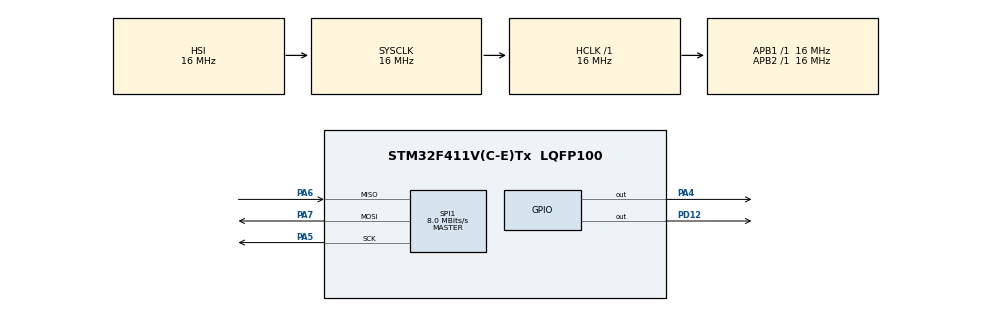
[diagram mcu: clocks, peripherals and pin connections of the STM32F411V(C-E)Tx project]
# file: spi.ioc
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Mcu.Family=STM32F4
Mcu.Name=STM32F411V(C-E)Tx
Mcu.Package=LQFP100
NVIC.PriorityGroup=NVIC_PRIORITYGROUP_4
PA4.Signal=GPIO_Output
PA5.Mode=Full_Duplex_Master
PA5.Signal=SPI1_SCK
PA6.Mode=Full_Duplex_Master
PA6.Signal=SPI1_MISO
PA7.Mode=Full_Duplex_Master
PA7.Signal=SPI1_MOSI
PD12.Signal=GPIO_Output
PH0\ -\ OSC_IN.Mode=HSE-External-Oscillator
PH0\ -\ OSC_IN.Signal=RCC_OSC_IN
PH1\ -\ OSC_OUT.Mode=HSE-External-Oscillator
PH1\ -\ OSC_OUT.Signal=RCC_OSC_OUT
ProjectManager.HeapSize=0x200
ProjectManager.StackSize=0x400
ProjectManager.TargetToolchain=MDK-ARM V5
RCC.AHBFreq_Value=16000000
RCC.APB1Freq_Value=16000000
RCC.APB2Freq_Value=16000000
RCC.CortexFreq_Value=16000000
RCC.HSE_VALUE=25000000
RCC.HSI_VALUE=16000000
RCC.LSE_VALUE=32768
RCC.SYSCLKFreq_VALUE=16000000
RCC.VCOOutputFreq_Value=192000000
SPI1.CalculateBaudRate=8.0 MBits/s
SPI1.Direction=SPI_DIRECTION_2LINES
SPI1.Mode=SPI_MODE_MASTER
SPI1.VirtualType=VM_MASTER
board=spi

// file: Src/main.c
/**
  ******************************************************************************
  * @file           : main.c
  * @brief          : Main program body
  ******************************************************************************
  ** This notice applies to any and all portions of this file
  * that are not between comment pairs USER CODE BEGIN and
  * USER CODE END. Other portions of this file, whether
  * inserted by the user or by software development tools
  * are owned by their respective copyright owners.
  *
  * COPYRIGHT(c) 2018 STMicroelectronics
  *
  * Redistribution and use in source and binary forms, with or without modification,
  * are permitted provided that the following conditions are met:
  *   1. Redistributions of source code must retain the above copyright notice,
  *      this list of conditions and the following disclaimer.
  *   2. Redistributions in binary form must reproduce the above copyright notice,
  *      this list of conditions and the following disclaimer in the documentation
  *      and/or other materials provided with the distribution.
  *   3. Neither the name of STMicroelectronics nor the names of its contributors
  *      may be used to endorse or promote products derived from this software
  *      without specific prior written permission.
  *
  * THIS SOFTWARE IS PROVIDED BY THE COPYRIGHT HOLDERS AND CONTRIBUTORS "AS IS"
  * AND ANY EXPRESS OR IMPLIED WARRANTIES, INCLUDING, BUT NOT LIMITED TO, THE
  * IMPLIED WARRANTIES OF MERCHANTABILITY AND FITNESS FOR A PARTICULAR PURPOSE ARE
  * DISCLAIMED. IN NO EVENT SHALL THE COPYRIGHT HOLDER OR CONTRIBUTORS BE LIABLE
  * FOR ANY DIRECT, INDIRECT, INCIDENTAL, SPECIAL, EXEMPLARY, OR CONSEQUENTIAL
  * DAMAGES (INCLUDING, BUT NOT LIMITED TO, PROCUREMENT OF SUBSTITUTE GOODS OR
  * SERVICES; LOSS OF USE, DATA, OR PROFITS; OR BUSINESS INTERRUPTION) HOWEVER
  * CAUSED AND ON ANY THEORY OF LIABILITY, WHETHER IN CONTRACT, STRICT LIABILITY,
  * OR TORT (INCLUDING NEGLIGENCE OR OTHERWISE) ARISING IN ANY WAY OUT OF THE USE
  * OF THIS SOFTWARE, EVEN IF ADVISED OF THE POSSIBILITY OF SUCH DAMAGE.
  *
  ******************************************************************************
  */
#include "main.h"
#include "stm32f4xx_hal.h"

/* USER CODE BEGIN Includes */
#include "rc522.h"

/* USER CODE END Includes */

SPI_HandleTypeDef hspi1;

/* USER CODE BEGIN PV */
/* Private variables ---------------------------------------------------------*/

/* USER CODE END PV */

void SystemClock_Config(void);
static void MX_GPIO_Init(void);
static void MX_SPI1_Init(void);

/* USER CODE BEGIN PFP */
/* Private function prototypes -----------------------------------------------*/

/* USER CODE END PFP */

/* USER CODE BEGIN 0 */
uint8_t dataUDP_permit[]="Ma the hop le ";
uint8_t dataUDP_deny[]="Ma the khong hop le ";
unsigned char CardID[5];
unsigned char MyID[5] = {0xD4, 0x8E, 0x70, 0x1F, 0x35};	//My card on my keys

uint8_t MFRC522_Check(uint8_t* id);
uint8_t MFRC522_Compare(uint8_t* CardID, uint8_t* CompareID);
void MFRC522_WriteRegister(uint8_t addr, uint8_t val);
uint8_t MFRC522_ReadRegister(uint8_t addr);
void MFRC522_SetBitMask(uint8_t reg, uint8_t mask);
void MFRC522_ClearBitMask(uint8_t reg, uint8_t mask);
uint8_t MFRC522_Request(uint8_t reqMode, uint8_t* TagType);
uint8_t MFRC522_ToCard(uint8_t command, uint8_t* sendData, uint8_t sendLen, uint8_t* backData, uint16_t* backLen);
uint8_t MFRC522_Anticoll(uint8_t* serNum);
void MFRC522_CalulateCRC(uint8_t* pIndata, uint8_t len, uint8_t* pOutData);
uint8_t MFRC522_SelectTag(uint8_t* serNum);
uint8_t MFRC522_Auth(uint8_t authMode, uint8_t BlockAddr, uint8_t* Sectorkey, uint8_t* serNum);
uint8_t MFRC522_Read(uint8_t blockAddr, uint8_t* recvData);
uint8_t MFRC522_Write(uint8_t blockAddr, uint8_t* writeData);
void MFRC522_Init(void);
void MFRC522_Reset(void);
void MFRC522_AntennaOn(void);
void MFRC522_AntennaOff(void);
void MFRC522_Halt(void);

/* USER CODE END 0 */

int main(void)
{

  /* MCU Configuration----------------------------------------------------------*/

  /* Reset of all peripherals, Initializes the Flash interface and the Systick. */
  HAL_Init();

  /* Configure the system clock */
  SystemClock_Config();

  /* Initialize all configured peripherals */
  MX_GPIO_Init();
  MX_SPI1_Init();
  /* USER CODE BEGIN 2 */
	MFRC522_Init();
  /* USER CODE END 2 */

  /* Infinite loop */
  /* USER CODE BEGIN WHILE */
  while (1)
  {

		if (MFRC522_Check(CardID) == MI_OK)
			{
				//printf( "[%02x-%02x-%02x-%02x-%02x] \r\n", CardID[0], CardID[1], CardID[2], CardID[3], CardID[4]);

				HAL_GPIO_WritePin(GPIOD,GPIO_PIN_12,GPIO_PIN_SET);

			if (MFRC522_Compare(CardID, MyID) == MI_OK)
				{
					//printf("(^_^) Perfect!\n\r");
					//printf("[%s voi Card ID=%02x-%02x-%02x-%02x-%02x] \r\n", dataUDP_permit, CardID[0], CardID[1], CardID[2], CardID[3], CardID[4]);

					HAL_GPIO_WritePin(GPIOD,GPIO_PIN_12,GPIO_PIN_SET);
				}
				else
				{
					//printf("(0_0) Bad!\n\r");
					//printf( "[%s voi Card ID=%02x-%02x-%02x-%02x-%02x]\r\n", dataUDP_deny, CardID[0], CardID[1], CardID[2], CardID[3], CardID[4]);

				HAL_GPIO_WritePin(GPIOD,GPIO_PIN_12,GPIO_PIN_RESET);

				}
				}

		  HAL_Delay(10);

  /* USER CODE END WHILE */

  }

}

void SystemClock_Config(void)
{

  RCC_OscInitTypeDef RCC_OscInitStruct;
  RCC_ClkInitTypeDef RCC_ClkInitStruct;

    /**Configure the main internal regulator output voltage
    */
  __HAL_RCC_PWR_CLK_ENABLE();

  __HAL_PWR_VOLTAGESCALING_CONFIG(PWR_REGULATOR_VOLTAGE_SCALE1);

    /**Initializes the CPU, AHB and APB busses clocks
    */
  RCC_OscInitStruct.OscillatorType = RCC_OSCILLATORTYPE_HSI;
  RCC_OscInitStruct.HSIState = RCC_HSI_ON;
  RCC_OscInitStruct.HSICalibrationValue = 16;
  RCC_OscInitStruct.PLL.PLLState = RCC_PLL_NONE;
  if (HAL_RCC_OscConfig(&RCC_OscInitStruct) != HAL_OK)
  {
    _Error_Handler(__FILE__, __LINE__);
  }

    /**Initializes the CPU, AHB and APB busses clocks
    */
  RCC_ClkInitStruct.ClockType = RCC_CLOCKTYPE_HCLK|RCC_CLOCKTYPE_SYSCLK
                              |RCC_CLOCKTYPE_PCLK1|RCC_CLOCKTYPE_PCLK2;
  RCC_ClkInitStruct.SYSCLKSource = RCC_SYSCLKSOURCE_HSI;
  RCC_ClkInitStruct.AHBCLKDivider = RCC_SYSCLK_DIV1;
  RCC_ClkInitStruct.APB1CLKDivider = RCC_HCLK_DIV1;
  RCC_ClkInitStruct.APB2CLKDivider = RCC_HCLK_DIV1;

  if (HAL_RCC_ClockConfig(&RCC_ClkInitStruct, FLASH_LATENCY_0) != HAL_OK)
  {
    _Error_Handler(__FILE__, __LINE__);
  }

    /**Configure the Systick interrupt time
    */
  HAL_SYSTICK_Config(HAL_RCC_GetHCLKFreq()/1000);

    /**Configure the Systick
    */
  HAL_SYSTICK_CLKSourceConfig(SYSTICK_CLKSOURCE_HCLK);

  /* SysTick_IRQn interrupt configuration */
  HAL_NVIC_SetPriority(SysTick_IRQn, 0, 0);
}

/* SPI1 init function */
static void MX_SPI1_Init(void)
{

  /* SPI1 parameter configuration*/
  hspi1.Instance = SPI1;
  hspi1.Init.Mode = SPI_MODE_MASTER;
  hspi1.Init.Direction = SPI_DIRECTION_2LINES;
  hspi1.Init.DataSize = SPI_DATASIZE_8BIT;
  hspi1.Init.CLKPolarity = SPI_POLARITY_LOW;
  hspi1.Init.CLKPhase = SPI_PHASE_1EDGE;
  hspi1.Init.NSS = SPI_NSS_SOFT;
  hspi1.Init.BaudRatePrescaler = SPI_BAUDRATEPRESCALER_2;
  hspi1.Init.FirstBit = SPI_FIRSTBIT_MSB;
  hspi1.Init.TIMode = SPI_TIMODE_DISABLE;
  hspi1.Init.CRCCalculation = SPI_CRCCALCULATION_DISABLE;
  hspi1.Init.CRCPolynomial = 10;
  if (HAL_SPI_Init(&hspi1) != HAL_OK)
  {
    _Error_Handler(__FILE__, __LINE__);
  }

}

/** Configure pins as
        * Analog
        * Input
        * Output
        * EVENT_OUT
        * EXTI
*/
static void MX_GPIO_Init(void)
{

  GPIO_InitTypeDef GPIO_InitStruct;

  /* GPIO Ports Clock Enable */
  __HAL_RCC_GPIOH_CLK_ENABLE();
  __HAL_RCC_GPIOA_CLK_ENABLE();
  __HAL_RCC_GPIOD_CLK_ENABLE();

  /*Configure GPIO pin Output Level */
  HAL_GPIO_WritePin(GPIOA, GPIO_PIN_4, GPIO_PIN_RESET);

  /*Configure GPIO pin Output Level */
  HAL_GPIO_WritePin(GPIOD, GPIO_PIN_12, GPIO_PIN_RESET);

  /*Configure GPIO pin : PA4 */
  GPIO_InitStruct.Pin = GPIO_PIN_4;
  GPIO_InitStruct.Mode = GPIO_MODE_OUTPUT_PP;
  GPIO_InitStruct.Pull = GPIO_NOPULL;
  GPIO_InitStruct.Speed = GPIO_SPEED_FREQ_LOW;
  HAL_GPIO_Init(GPIOA, &GPIO_InitStruct);

  /*Configure GPIO pin : PD12 */
  GPIO_InitStruct.Pin = GPIO_PIN_12;
  GPIO_InitStruct.Mode = GPIO_MODE_OUTPUT_PP;
  GPIO_InitStruct.Pull = GPIO_NOPULL;
  GPIO_InitStruct.Speed = GPIO_SPEED_FREQ_LOW;
  HAL_GPIO_Init(GPIOD, &GPIO_InitStruct);

}

void _Error_Handler(char *file, int line)
{
  while(1)
  {
  }
}

/************************ (C) COPYRIGHT STMicroelectronics *****END OF FILE****/
